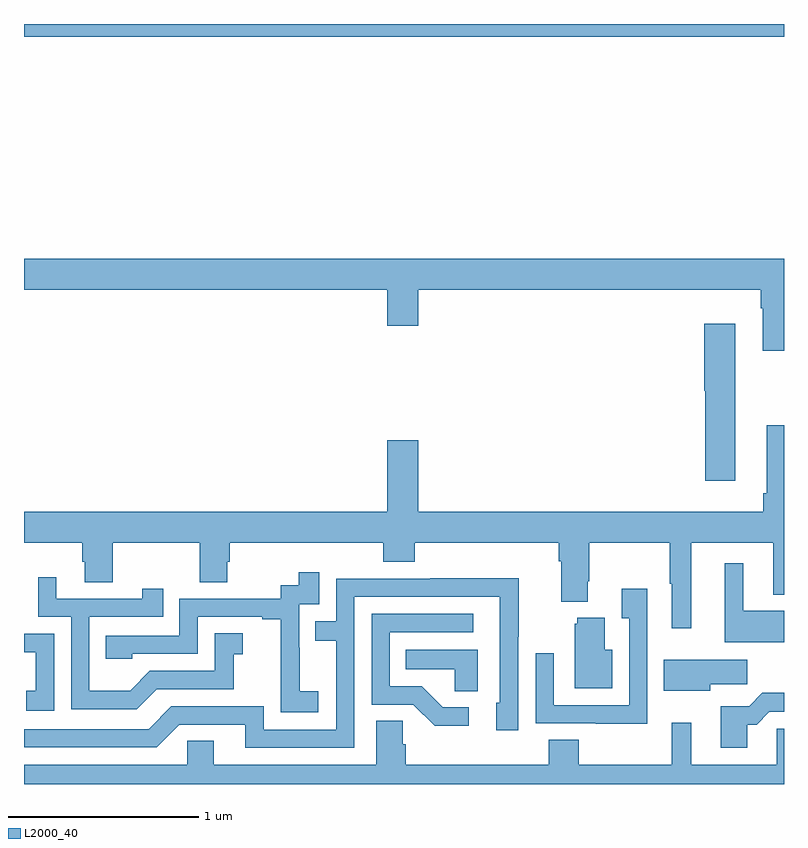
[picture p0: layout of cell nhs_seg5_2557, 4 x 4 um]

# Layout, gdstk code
import gdstk
lib = gdstk.Library(unit=1e-6, precision=1e-09)
def R(c, l, rs):  # rectangles x0, y0, x1, y1
    for r in rs: c.add(gdstk.rectangle(r[:2], r[2:], *l))
def P(c, l, *ps):  # polygons
    for p in ps: c.add(gdstk.Polygon(p, *l))
L2000_40 = (2000, 40)

nhs_seg5_2557 = lib.new_cell('nhs_seg5_2557')
R(nhs_seg5_2557, L2000_40, [(259,884.732,263,884.799)])
P(nhs_seg5_2557, L2000_40, [(263,883.564),(259,883.564),(259,883.4),(260.912,883.4),(260.912,883.212),(261.076,883.212),(261.076,883.4),(262.877,883.4),(262.877,883.304),(262.889,883.304),(262.889,883.08),(263,883.08)],
  [(262.744,883.222),(262.58,883.222),(262.58,882.87),(262.586,882.87),(262.586,882.396),(262.744,882.396)],
  [(262.513,882.068),(262.943,882.068),(262.943,881.795),(263,881.795),(263,882.688),(262.91,882.688),(262.91,882.328),(262.891,882.328),(262.891,882.232),(261.076,882.232),(261.076,882.607),(260.912,882.607),(260.912,882.232),(259,882.232),(259,882.068),(259.307,882.068),(259.307,881.97),(259.319,881.97),(259.319,881.86),(259.467,881.86),(259.467,882.068),(259.924,882.068),(259.924,881.86),(260.071,881.86),(260.071,881.97),(260.084,881.97),(260.084,882.068),(260.891,882.068),(260.891,881.969),(261.056,881.969),(261.056,882.068),(261.815,882.068),(261.815,881.972),(261.827,881.972),(261.827,881.759),(261.967,881.759),(261.967,881.866),(261.975,881.866),(261.975,882.068),(262.399,882.068),(262.399,881.852),(262.409,881.852),(262.409,881.619),(262.513,881.619)],
  [(263,881.71),(262.786,881.71),(262.786,881.962),(262.688,881.962),(262.688,881.546),(263,881.546)],
  [(260.548,881.287),(260.45,881.287),(260.45,881.516),(260.448,881.516),(260.448,881.745),(260.553,881.745),(260.553,881.914),(260.445,881.914),(260.445,881.844),(260.352,881.844),(260.352,881.775),(259.818,881.775),(259.818,881.58),(259.429,881.58),(259.429,881.457),(259.569,881.457),(259.569,881.484),(259.914,881.484),(259.914,881.679),(260.255,881.679),(260.255,881.667),(260.351,881.667),(260.351,881.383),(260.35,881.383),(260.35,881.177),(260.548,881.177)],
  [(259.699,881.298),(260.103,881.298),(260.103,881.483),(260.152,881.483),(260.152,881.593),(260.004,881.593),(260.004,881.394),(259.662,881.394),(259.558,881.29),(259.344,881.29),(259.344,881.679),(259.733,881.679),(259.733,881.827),(259.622,881.827),(259.622,881.775),(259.171,881.775),(259.171,881.887),(259.074,881.887),(259.074,881.679),(259.248,881.679),(259.248,881.193),(259.594,881.193)],
  [(260.739,881.784),(261.504,881.784),(261.504,881.226),(261.485,881.226),(261.485,881.082),(261.6,881.082),(261.6,881.575),(261.603,881.575),(261.603,881.882),(261.139,881.882),(261.139,881.88),(260.643,881.88),(260.643,881.655),(260.533,881.655),(260.533,881.554),(260.643,881.554),(260.643,881.085),(260.262,881.085),(260.262,881.208),(259.776,881.208),(259.656,881.088),(259,881.088),(259,880.992),(259.698,880.992),(259.818,881.112),(260.165,881.112),(260.165,880.989),(260.739,880.989)],
  [(262.281,881.827),(262.145,881.827),(262.145,881.671),(262.185,881.671),(262.185,881.214),(261.789,881.214),(261.789,881.488),(261.693,881.488),(261.693,881.118),(262.009,881.118),(262.009,881.117),(262.281,881.117)],
  [(261.34,881.202),(261.205,881.202),(261.094,881.313),(260.925,881.313),(260.925,881.598),(261.364,881.598),(261.364,881.694),(260.829,881.694),(260.829,881.217),(261.048,881.217),(261.161,881.105),(261.34,881.105)],
  [(262.096,881.506),(262.057,881.506),(262.057,881.674),(261.911,881.674),(261.911,881.643),(261.899,881.643),(261.899,881.303),(262.096,881.303)],
  [(259.158,881.589),(259,881.589),(259,881.493),(259.061,881.493),(259.061,881.289),(259.012,881.289),(259.012,881.184),(259.158,881.184)],
  [(261.388,881.506),(261.01,881.506),(261.01,881.402),(261.267,881.402),(261.267,881.287),(261.388,881.287)],
  [(262.612,881.323),(262.807,881.323),(262.807,881.452),(262.368,881.452),(262.368,881.291),(262.612,881.291)],
  [(262.807,881.111),(262.856,881.111),(262.923,881.178),(263,881.178),(263,881.279),(262.886,881.279),(262.816,881.209),(262.667,881.209),(262.667,880.989),(262.807,880.989)],
  [(263,881.09),(262.962,881.09),(262.962,880.9),(262.513,880.9),(262.513,881.122),(262.409,881.122),(262.409,880.9),(261.921,880.9),(261.921,881.033),(261.761,881.033),(261.761,880.9),(261.008,880.9),(261.008,881.009),(260.994,881.009),(260.994,881.132),(260.855,881.132),(260.855,880.9),(259.999,880.9),(259.999,881.027),(259.86,881.027),(259.86,880.9),(259,880.9),(259,880.799),(263,880.799)])

lib.write_gds('nhs_seg5_2557.gds')
